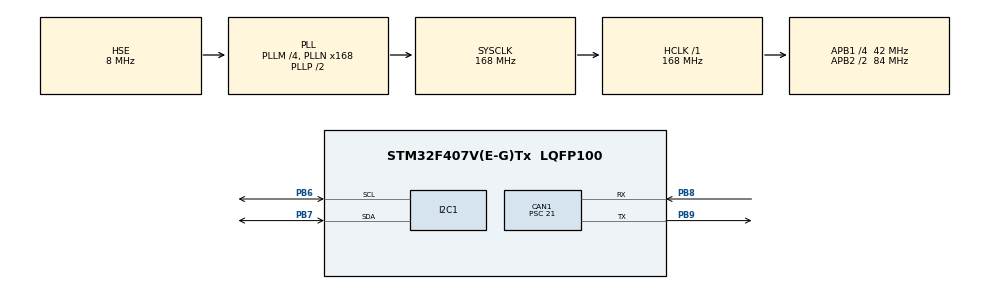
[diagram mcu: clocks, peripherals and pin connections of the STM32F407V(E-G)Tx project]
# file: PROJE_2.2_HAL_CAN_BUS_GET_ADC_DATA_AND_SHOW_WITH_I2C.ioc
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CAN1.BS1=CAN_BS1_12TQ
CAN1.BS2=CAN_BS2_3TQ
CAN1.CalculateBaudRate=125000
CAN1.CalculateTimeBit=8000
CAN1.CalculateTimeQuantum=500.0
CAN1.Prescaler=21
Mcu.Family=STM32F4
Mcu.Name=STM32F407V(E-G)Tx
Mcu.Package=LQFP100
NVIC.CAN1_RX0_IRQn=true\:0\:0\:false\:false\:true\:true\:true\:true
NVIC.PriorityGroup=NVIC_PRIORITYGROUP_4
PB6.Mode=I2C
PB6.Signal=I2C1_SCL
PB7.Mode=I2C
PB7.Signal=I2C1_SDA
PB8.Mode=CAN_Activate
PB8.Signal=CAN1_RX
PB9.Mode=CAN_Activate
PB9.Signal=CAN1_TX
PH0-OSC_IN.Mode=HSE-External-Oscillator
PH0-OSC_IN.Signal=RCC_OSC_IN
PH1-OSC_OUT.Mode=HSE-External-Oscillator
PH1-OSC_OUT.Signal=RCC_OSC_OUT
ProjectManager.HeapSize=0x200
ProjectManager.StackSize=0x400
ProjectManager.TargetToolchain=STM32CubeIDE
RCC.48MHZClocksFreq_Value=84000000
RCC.AHBFreq_Value=168000000
RCC.APB1CLKDivider=RCC_HCLK_DIV4
RCC.APB1Freq_Value=42000000
RCC.APB1TimFreq_Value=84000000
RCC.APB2CLKDivider=RCC_HCLK_DIV2
RCC.APB2Freq_Value=84000000
RCC.APB2TimFreq_Value=168000000
RCC.CortexFreq_Value=168000000
RCC.HCLKFreq_Value=168000000
RCC.HSE_VALUE=8000000
RCC.HSI_VALUE=16000000
RCC.LSE_VALUE=32768
RCC.PLLM=4
RCC.PLLN=168
RCC.PLLSourceVirtual=RCC_PLLSOURCE_HSE
RCC.SYSCLKFreq_VALUE=168000000
RCC.SYSCLKSource=RCC_SYSCLKSOURCE_PLLCLK
RCC.VCOOutputFreq_Value=336000000
board=custom

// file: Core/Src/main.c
/* USER CODE BEGIN Header */
/**
  ******************************************************************************
  * @file           : main.c
  * @brief          : Main program body
  ******************************************************************************
  * @attention
  *
  * Copyright (c) 2023 STMicroelectronics.
  * All rights reserved.
  *
  * This software is licensed under terms that can be found in the LICENSE file
  * in the root directory of this software component.
  * If no LICENSE file comes with this software, it is provided AS-IS.
  *
  ******************************************************************************
  */
/* USER CODE END Header */
#include "main.h"

/* USER CODE BEGIN Includes */
#include "i2c-lcd.h"
#include "string.h"
/* USER CODE END Includes */

CAN_HandleTypeDef hcan1;

I2C_HandleTypeDef hi2c1;

/* USER CODE BEGIN PV */

CAN_RxHeaderTypeDef pRxHeader;
uint8_t rAdc_value;

CAN_TxHeaderTypeDef pHeader;
CAN_FilterTypeDef sFilterConfig;

/* USER CODE END PV */

void SystemClock_Config(void);
static void MX_GPIO_Init(void);
static void MX_CAN1_Init(void);
static void MX_I2C1_Init(void);

int main(void)
{

  /* MCU Configuration--------------------------------------------------------*/

  /* Reset of all peripherals, Initializes the Flash interface and the Systick. */
  HAL_Init();

  /* Configure the system clock */
  SystemClock_Config();

  /* Initialize all configured peripherals */
  MX_GPIO_Init();
  MX_CAN1_Init();
  MX_I2C1_Init();
  /* USER CODE BEGIN 2 */

  //set received parameters
 pHeader.DLC=1; //1 byte
 pHeader.IDE=CAN_ID_STD;
 pHeader.RTR=CAN_RTR_DATA;
 pHeader.StdId=0x0156;

 //set filter parameters
	sFilterConfig.FilterActivation=ENABLE;
	sFilterConfig.FilterBank=0;
	sFilterConfig.FilterFIFOAssignment=CAN_FILTER_FIFO0;
	sFilterConfig.FilterIdHigh=0;
	sFilterConfig.FilterIdLow=0;
	sFilterConfig.FilterMaskIdHigh=0;
	sFilterConfig.FilterMaskIdLow=0;
	sFilterConfig.FilterMode=CAN_FILTERMODE_IDMASK;
	sFilterConfig.FilterScale=CAN_FILTERSCALE_16BIT;

	HAL_CAN_ConfigFilter(&hcan1, &sFilterConfig);

  //start can
  HAL_CAN_Start(&hcan1);

  //activate interrupt for can bus
  HAL_CAN_ActivateNotification(&hcan1, CAN_IT_RX_FIFO0_MSG_PENDING);

  //initalization lcd
  lcd_init();

  lcd_send_string("CAN BUS EXAMPLE");
  HAL_Delay(2000);

 // char message[] = "Corumspor FK <3 ";
  /* USER CODE END 2 */

  /* Infinite loop */
  while (1)
  {

  }
}

void SystemClock_Config(void)
{
  RCC_OscInitTypeDef RCC_OscInitStruct = {0};
  RCC_ClkInitTypeDef RCC_ClkInitStruct = {0};

  /** Configure the main internal regulator output voltage
  */
  __HAL_RCC_PWR_CLK_ENABLE();
  __HAL_PWR_VOLTAGESCALING_CONFIG(PWR_REGULATOR_VOLTAGE_SCALE1);

  /** Initializes the RCC Oscillators according to the specified parameters
  * in the RCC_OscInitTypeDef structure.
  */
  RCC_OscInitStruct.OscillatorType = RCC_OSCILLATORTYPE_HSE;
  RCC_OscInitStruct.HSEState = RCC_HSE_ON;
  RCC_OscInitStruct.PLL.PLLState = RCC_PLL_ON;
  RCC_OscInitStruct.PLL.PLLSource = RCC_PLLSOURCE_HSE;
  RCC_OscInitStruct.PLL.PLLM = 4;
  RCC_OscInitStruct.PLL.PLLN = 168;
  RCC_OscInitStruct.PLL.PLLP = RCC_PLLP_DIV2;
  RCC_OscInitStruct.PLL.PLLQ = 4;
  if (HAL_RCC_OscConfig(&RCC_OscInitStruct) != HAL_OK)
  {
    Error_Handler();
  }

  /** Initializes the CPU, AHB and APB buses clocks
  */
  RCC_ClkInitStruct.ClockType = RCC_CLOCKTYPE_HCLK|RCC_CLOCKTYPE_SYSCLK
                              |RCC_CLOCKTYPE_PCLK1|RCC_CLOCKTYPE_PCLK2;
  RCC_ClkInitStruct.SYSCLKSource = RCC_SYSCLKSOURCE_PLLCLK;
  RCC_ClkInitStruct.AHBCLKDivider = RCC_SYSCLK_DIV1;
  RCC_ClkInitStruct.APB1CLKDivider = RCC_HCLK_DIV4;
  RCC_ClkInitStruct.APB2CLKDivider = RCC_HCLK_DIV2;

  if (HAL_RCC_ClockConfig(&RCC_ClkInitStruct, FLASH_LATENCY_5) != HAL_OK)
  {
    Error_Handler();
  }
}

static void MX_CAN1_Init(void)
{

  hcan1.Instance = CAN1;
  hcan1.Init.Prescaler = 21;
  hcan1.Init.Mode = CAN_MODE_NORMAL;
  hcan1.Init.SyncJumpWidth = CAN_SJW_1TQ;
  hcan1.Init.TimeSeg1 = CAN_BS1_12TQ;
  hcan1.Init.TimeSeg2 = CAN_BS2_3TQ;
  hcan1.Init.TimeTriggeredMode = DISABLE;
  hcan1.Init.AutoBusOff = DISABLE;
  hcan1.Init.AutoWakeUp = DISABLE;
  hcan1.Init.AutoRetransmission = DISABLE;
  hcan1.Init.ReceiveFifoLocked = DISABLE;
  hcan1.Init.TransmitFifoPriority = DISABLE;
  if (HAL_CAN_Init(&hcan1) != HAL_OK)
  {
    Error_Handler();
  }

}

static void MX_I2C1_Init(void)
{

  hi2c1.Instance = I2C1;
  hi2c1.Init.ClockSpeed = 100000;
  hi2c1.Init.DutyCycle = I2C_DUTYCYCLE_2;
  hi2c1.Init.OwnAddress1 = 0;
  hi2c1.Init.AddressingMode = I2C_ADDRESSINGMODE_7BIT;
  hi2c1.Init.DualAddressMode = I2C_DUALADDRESS_DISABLE;
  hi2c1.Init.OwnAddress2 = 0;
  hi2c1.Init.GeneralCallMode = I2C_GENERALCALL_DISABLE;
  hi2c1.Init.NoStretchMode = I2C_NOSTRETCH_DISABLE;
  if (HAL_I2C_Init(&hi2c1) != HAL_OK)
  {
    Error_Handler();
  }

}

static void MX_GPIO_Init(void)
{

  /* GPIO Ports Clock Enable */
  __HAL_RCC_GPIOH_CLK_ENABLE();
  __HAL_RCC_GPIOB_CLK_ENABLE();

}

void Error_Handler(void)
{
  __disable_irq();
  while (1)
  {
  }
}
